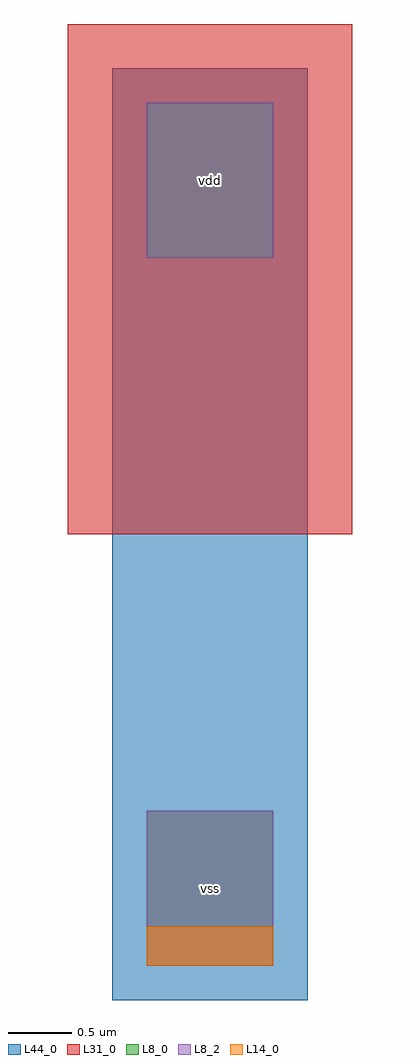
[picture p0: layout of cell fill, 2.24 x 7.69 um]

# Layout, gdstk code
import gdstk
lib = gdstk.Library(unit=1e-6, precision=1e-09)
def R(c, l, rs):  # rectangles x0, y0, x1, y1
    for r in rs: c.add(gdstk.rectangle(r[:2], r[2:], *l))
L8_0 = (8, 0)
L8_2 = (8, 2)
L14_0 = (14, 0)
L31_0 = (31, 0)
L44_0 = (44, 0)

fill = lib.new_cell('fill')
R(fill, L8_0, [(0,0,1,1.22), (0,5.58,1,6.8)])
R(fill, L8_2, [(0,0,1,1.22), (0,5.58,1,6.8)])
R(fill, L14_0, [(0,0,1,0.31)])
R(fill, L31_0, [(-0.62,3.4,1.62,7.42)])
R(fill, L44_0, [(-0.27,-0.27,1.27,7.07)])
fill.add(gdstk.Label('vdd', (0.5,6.19), layer=8, texttype=2))
fill.add(gdstk.Label('vss', (0.5,0.61), layer=8, texttype=2))

lib.write_gds('fill.gds')
